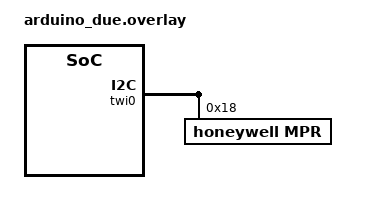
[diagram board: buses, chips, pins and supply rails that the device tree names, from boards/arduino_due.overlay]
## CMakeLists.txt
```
# SPDX-License-Identifier: Apache-2.0

cmake_minimum_required(VERSION 3.20.0)
find_package(Zephyr REQUIRED HINTS $ENV{ZEPHYR_BASE})
project(mpr)

FILE(GLOB app_sources src/*.c)
target_sources(app PRIVATE ${app_sources})
```

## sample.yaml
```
sample:
  name: MPR Pressure Sensor
tests:
  sample.sensor.mpr:
    harness: sensor
    tags: sensors
    platform_allow:
      - arduino_due
```

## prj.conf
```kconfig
CONFIG_STDOUT_CONSOLE=y
CONFIG_I2C=y
CONFIG_SENSOR=y
CONFIG_MPR=y
```

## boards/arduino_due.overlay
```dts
/*
 * Copyright (c) 2020, Sven Herrmann
 *
 * SPDX-License-Identifier: Apache-2.0
 */

&twi0 {
	mpr@18 {
		compatible = "honeywell,mpr";
		reg = <0x18>;
	};
};
```

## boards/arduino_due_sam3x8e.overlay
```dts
/*
 * Copyright (c) 2020, Sven Herrmann
 *
 * SPDX-License-Identifier: Apache-2.0
 */

&twi0 {
    mpr@18 {
        compatible = "honeywell,mpr";
        reg = <0x18>;
    };
};
```

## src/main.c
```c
/*
 * Copyright (c) 2020 Sven Herrmann
 *
 * SPDX-License-Identifier: Apache-2.0
 */

#include <zephyr/kernel.h>
#include <zephyr/device.h>
#include <zephyr/drivers/sensor.h>
#include <stdio.h>

int main(void)
{
	const struct device *const dev = DEVICE_DT_GET_ONE(honeywell_mpr);
	int rc;

	if (!device_is_ready(dev)) {
		printf("Device %s is not ready\n", dev->name);
		return 0;
	}

	while (1) {
		struct sensor_value pressure;
		int8_t shift;
		q31_t pressure_value;
		struct sensor_chan_spec channels[1] = {
			{.chan_type = SENSOR_CHAN_PRESS, .chan_idx = 0},
		};

		rc = sensor_read_and_decode(dev, channels, ARRAY_SIZE(channels), &shift,
					    &pressure_value, 1);
		if (rc != 0) {
			printf("sensor_read_and_decode error: %d\n", rc);
			break;
		}
		printf("pressure (q31): %" PRIq(6) " kPa\n", PRIq_arg(pressure_value, 6, shift));

		q31_to_sensor_value(pressure_value, shift, &pressure);
		printf("pressure (sensor_value): %u.%u kPa\n", pressure.val1, pressure.val2);

		k_sleep(K_SECONDS(1));
	}
	return 0;
}
```
